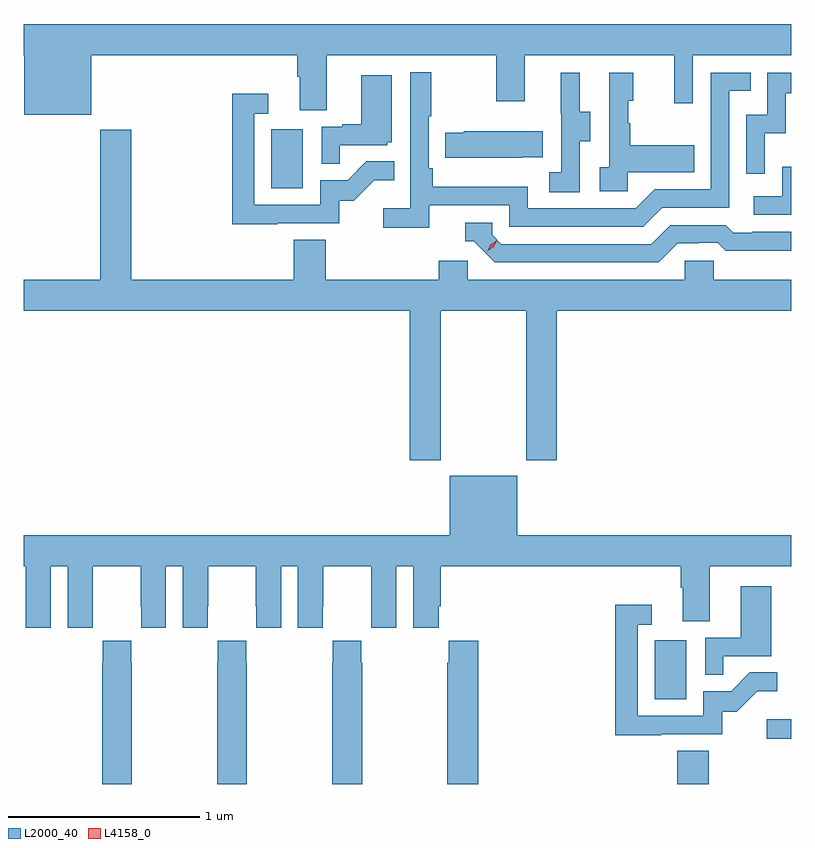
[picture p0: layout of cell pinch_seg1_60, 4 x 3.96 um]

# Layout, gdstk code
import gdstk
lib = gdstk.Library(unit=1e-6, precision=1e-09)
def R(c, l, rs):  # rectangles x0, y0, x1, y1
    for r in rs: c.add(gdstk.rectangle(r[:2], r[2:], *l))
def P(c, l, *ps):  # polygons
    for p in ps: c.add(gdstk.Polygon(p, *l))
L2000_40 = (2000, 40)
L4158_0 = (4158, 0)

pinch_seg1_60 = lib.new_cell('pinch_seg1_60')
R(pinch_seg1_60, L2000_40, [(1036.121,567.914,1036.286,568.088), (1036.587,568.15,1036.715,568.252), (1036.004,568.356,1036.168,568.663), (1034.006,571.02,1034.17,571.327)])
P(pinch_seg1_60, L2000_40, [(1033.066,571.712),(1034.141,571.712),(1034.141,571.6),(1034.153,571.6),(1034.153,571.426),(1034.293,571.426),(1034.293,571.712),(1035.178,571.712),(1035.178,571.473),(1035.325,571.473),(1035.325,571.712),(1036.106,571.712),(1036.106,571.464),(1036.203,571.464),(1036.203,571.712),(1036.715,571.712),(1036.715,571.876),(1032.715,571.876),(1032.715,571.712),(1032.716,571.712),(1032.716,571.403),(1033.066,571.403)],
  [(1034.828,570.93),(1035.246,570.93),(1035.246,570.819),(1035.943,570.819),(1036.042,570.918),(1036.392,570.918),(1036.392,571.527),(1036.505,571.527),(1036.505,571.623),(1036.296,571.623),(1036.296,571.014),(1036.005,571.014),(1035.906,570.915),(1035.342,570.915),(1035.342,571.027),(1034.846,571.027),(1034.846,571.123),(1034.826,571.123),(1034.826,571.396),(1034.839,571.396),(1034.839,571.624),(1034.73,571.624),(1034.73,570.916),(1034.589,570.916),(1034.589,570.814),(1034.828,570.814)],
  [(1036.578,571.307),(1036.688,571.307),(1036.688,571.515),(1036.715,571.515),(1036.715,571.623),(1036.59,571.623),(1036.59,571.404),(1036.482,571.404),(1036.482,571.095),(1036.578,571.095)],
  [(1035.864,571.103),(1036.211,571.103),(1036.211,571.243),(1035.877,571.243),(1035.877,571.358),(1035.867,571.358),(1035.867,571.476),(1035.892,571.476),(1035.892,571.621),(1035.768,571.621),(1035.768,571.13),(1035.717,571.13),(1035.717,571.005),(1035.864,571.005)],
  [(1035.612,571.264),(1035.667,571.264),(1035.667,571.419),(1035.613,571.419),(1035.613,571.621),(1035.515,571.621),(1035.515,571.407),(1035.516,571.407),(1035.516,571.103),(1035.453,571.103),(1035.453,571),(1035.612,571)],
  [(1034.363,571.245),(1034.61,571.245),(1034.61,571.26),(1034.632,571.26),(1034.632,571.609),(1034.474,571.609),(1034.474,571.354),(1034.375,571.354),(1034.375,571.341),(1034.268,571.341),(1034.268,571.147),(1034.363,571.147)],
  [(1034.039,570.837),(1034.358,570.837),(1034.358,570.954),(1034.434,570.954),(1034.541,571.061),(1034.645,571.061),(1034.645,571.16),(1034.501,571.16),(1034.403,571.062),(1034.259,571.062),(1034.259,570.933),(1033.917,570.933),(1033.917,571.407),(1033.99,571.407),(1033.99,571.513),(1033.801,571.513),(1033.801,570.832),(1034.039,570.832)],
  [(1034.889,570.38),(1035.334,570.38),(1035.334,569.601),(1035.494,569.601),(1035.494,570.38),(1036.715,570.38),(1036.715,570.544),(1036.311,570.544),(1036.311,570.642),(1036.161,570.642),(1036.161,570.544),(1035.03,570.544),(1035.03,570.642),(1034.879,570.642),(1034.879,570.544),(1034.288,570.544),(1034.288,570.752),(1034.123,570.752),(1034.123,570.544),(1033.274,570.544),(1033.274,571.324),(1033.114,571.324),(1033.114,570.544),(1032.715,570.544),(1032.715,570.38),(1034.728,570.38),(1034.728,569.601),(1034.889,569.601)],
  [(1035.311,571.181),(1035.419,571.181),(1035.419,571.318),(1035.009,571.318),(1035.009,571.308),(1034.911,571.308),(1034.911,571.178),(1035.311,571.178)],
  [(1036.715,571.132),(1036.668,571.132),(1036.668,570.978),(1036.521,570.978),(1036.521,570.882),(1036.715,570.882)],
  [(1036.123,570.732),(1036.23,570.732),(1036.23,570.735),(1036.333,570.735),(1036.375,570.693),(1036.608,570.693),(1036.608,570.695),(1036.715,570.695),(1036.715,570.792),(1036.513,570.792),(1036.513,570.789),(1036.414,570.789),(1036.375,570.828),(1036.086,570.828),(1035.987,570.729),(1035.204,570.729),(1035.156,570.777),(1035.156,570.84),(1035.017,570.84),(1035.017,570.744),(1035.06,570.744),(1035.171,570.633),(1036.024,570.633)],
  [(1032.715,569.048),(1032.725,569.048),(1032.725,568.84),(1032.726,568.84),(1032.726,568.728),(1032.856,568.728),(1032.856,569.048),(1032.944,569.048),(1032.944,568.728),(1033.074,568.728),(1033.074,568.84),(1033.075,568.84),(1033.075,569.048),(1033.325,569.048),(1033.325,568.84),(1033.326,568.84),(1033.326,568.728),(1033.456,568.728),(1033.456,569.048),(1033.544,569.048),(1033.544,568.728),(1033.674,568.728),(1033.674,568.84),(1033.675,568.84),(1033.675,569.048),(1033.925,569.048),(1033.925,568.84),(1033.926,568.84),(1033.926,568.728),(1034.056,568.728),(1034.056,569.048),(1034.144,569.048),(1034.144,568.728),(1034.274,568.728),(1034.274,568.84),(1034.275,568.84),(1034.275,569.048),(1034.525,569.048),(1034.525,568.84),(1034.526,568.84),(1034.526,568.728),(1034.656,568.728),(1034.656,569.048),(1034.744,569.048),(1034.744,568.728),(1034.878,568.728),(1034.878,568.84),(1034.888,568.84),(1034.888,569.048),(1036.139,569.048),(1036.139,568.936),(1036.151,568.936),(1036.151,568.762),(1036.291,568.762),(1036.291,569.048),(1036.715,569.048),(1036.715,569.212),(1035.286,569.212),(1035.286,569.521),(1034.936,569.521),(1034.936,569.212),(1032.715,569.212)],
  [(1036.361,568.581),(1036.612,568.581),(1036.612,568.945),(1036.451,568.945),(1036.451,568.677),(1036.266,568.677),(1036.266,568.483),(1036.361,568.483)],
  [(1036.037,568.173),(1036.356,568.173),(1036.356,568.29),(1036.432,568.29),(1036.539,568.397),(1036.643,568.397),(1036.643,568.496),(1036.5,568.496),(1036.402,568.398),(1036.257,568.398),(1036.257,568.269),(1035.915,568.269),(1035.915,568.743),(1035.988,568.743),(1035.988,568.849),(1035.799,568.849),(1035.799,568.168),(1036.037,568.168)],
  [(1035.083,568.66),(1034.929,568.66),(1034.929,568.547),(1034.923,568.547),(1034.923,567.914),(1035.083,567.914)],
  [(1033.878,568.547),(1033.875,568.547),(1033.875,568.66),(1033.725,568.66),(1033.725,568.547),(1033.723,568.547),(1033.723,567.914),(1033.878,567.914)],
  [(1034.478,568.547),(1034.475,568.547),(1034.475,568.66),(1034.325,568.66),(1034.325,568.547),(1034.323,568.547),(1034.323,567.914),(1034.478,567.914)],
  [(1033.125,568.66),(1033.125,568.547),(1033.123,568.547),(1033.123,567.914),(1033.278,567.914),(1033.278,568.547),(1033.275,568.547),(1033.275,568.66)])
P(pinch_seg1_60, L4158_0, [(1035.131,570.692),(1035.131,570.692),(1035.148,570.725),(1035.178,570.745),(1035.179,570.745),(1035.179,570.744),(1035.162,570.711),(1035.131,570.692)])

lib.write_gds('pinch_seg1_60.gds')
